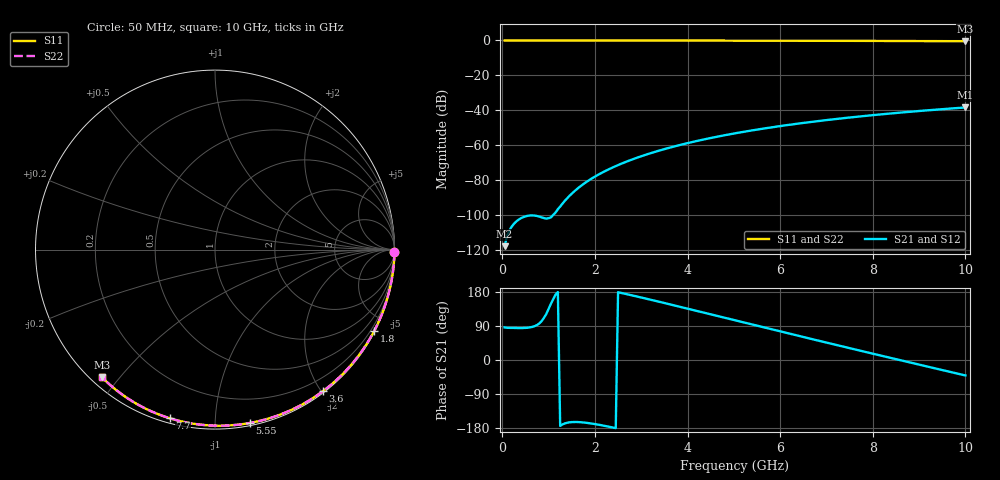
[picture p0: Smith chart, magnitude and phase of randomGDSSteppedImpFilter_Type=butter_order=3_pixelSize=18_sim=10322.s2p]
! freq	dB(S11)	phase(S11)	dB(S12)	phase(S12)
!  dB(S21)	phase(S21)	dB(S22)	phase(S22)
!S-par simulation data
#  GHz  S  DB  R 50
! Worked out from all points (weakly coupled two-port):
!   200 points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, 50 MHz to 10 GHz, reference 50 ohm
!   highest |S21| = -38.42 dB at 10 GHz (marker M1); lowest = -117.9 dB at 50 MHz (marker M2)
!   lowest |S11| = -0.4 dB at 10 GHz (marker M3), VSWR 39.13, Z = 1.54 - j22.6 ohm
!   |S11| at or under -10 dB: nowhere
!   |S22| runs from -0.4 to 0.0 dB; largest |S21 - S12| = 0
!   S11 on the Smith chart (normalised r, x): 50 MHz: open; 1.8 GHz: 0.04, -4.17; 3.6 GHz: 0.02, -2.02; 5.55 GHz: 0.02, -1.22; 7.7 GHz: 0.02, -0.77; 10 GHz: 0.03, -0.45
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0.05  -0.00 -0.8  -117.91 86.1  -117.91 86.1  -0.00 -0.8
0.9  -0.02 -13.6  -101.82 111.4  -101.82 111.4  -0.02 -13.6
1.75  -0.03 -26.2  -82.33 -164.8  -82.33 -164.8  -0.03 -26.2
1.8  -0.03 -26.9  -81.40 -165.5  -81.40 -165.5  -0.03 -26.9
1.85  -0.04 -27.7  -80.51 -166.3  -80.51 -166.3  -0.04 -27.7
1.9  -0.04 -28.4  -79.65 -167.1  -79.65 -167.1  -0.04 -28.4
2.05  -0.04 -30.6  -77.28 -170.1  -77.28 -170.1  -0.04 -30.6
2.25  -0.04 -33.5  -74.48 -174.8  -74.48 -174.8  -0.04 -33.5
2.45  -0.05 -36.4  -72.00 -179.8  -72.00 -179.8  -0.05 -36.4
2.65  -0.05 -39.3  -69.78 174.8  -69.78 174.8  -0.05 -39.3
3  -0.06 -44.3  -66.37 165.0  -66.37 165.0  -0.06 -44.3
3.4  -0.07 -49.9  -63.03 153.3  -63.03 153.3  -0.07 -49.9
3.6  -0.07 -52.7  -61.54 147.4  -61.54 147.4  -0.07 -52.7
4.3  -0.09 -62.3  -57.03 126.5  -57.03 126.5  -0.09 -62.3
5.05  -0.11 -72.2  -53.11 104.0  -53.11 104.0  -0.11 -72.2
5.55  -0.13 -78.7  -50.88 89.0  -50.88 89.0  -0.13 -78.7
6.1  -0.15 -85.6  -48.70 72.6  -48.70 72.6  -0.15 -85.6
6.7  -0.18 -93.1  -46.60 54.8  -46.60 54.8  -0.18 -93.1
7.7  -0.24 -105.1  -43.61 25.4  -43.61 25.4  -0.24 -105.1
8.35  -0.29 -112.6  -41.93 6.5  -41.93 6.5  -0.29 -112.6
9.15  -0.36 -121.8  -40.11 -16.5  -40.11 -16.5  -0.36 -121.8
10  -0.44 -131.4  -38.42 -40.8  -38.42 -40.8  -0.44 -131.4
